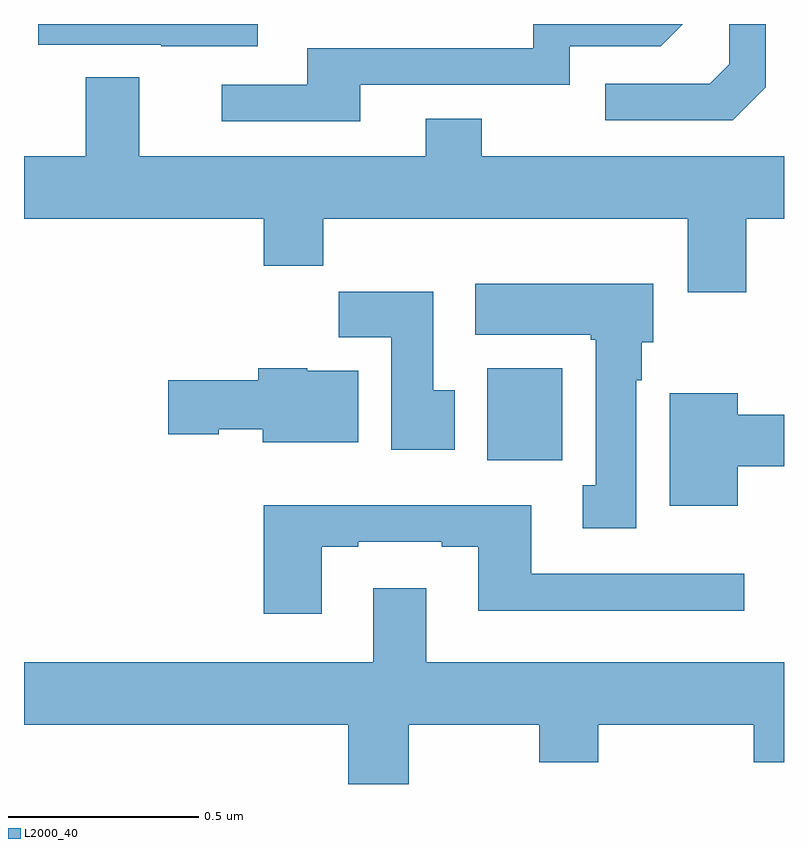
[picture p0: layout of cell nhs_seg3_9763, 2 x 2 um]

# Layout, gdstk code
import gdstk
lib = gdstk.Library(unit=1e-6, precision=1e-09)
def R(c, l, rs):  # rectangles x0, y0, x1, y1
    for r in rs: c.add(gdstk.rectangle(r[:2], r[2:], *l))
def P(c, l, *ps):  # polygons
    for p in ps: c.add(gdstk.Polygon(p, *l))
L2000_40 = (2000, 40)

nhs_seg3_9763 = lib.new_cell('nhs_seg3_9763')
R(nhs_seg3_9763, L2000_40, [(233.219,728.252,233.416,728.494)])
P(nhs_seg3_9763, L2000_40, [(232.615,729.4),(232.037,729.4),(232.037,729.345),(232.361,729.345),(232.361,729.341),(232.615,729.341)],
  [(232.885,729.24),(233.436,729.24),(233.436,729.342),(233.676,729.342),(233.734,729.4),(233.34,729.4),(233.34,729.336),(232.745,729.336),(232.745,729.24),(232.521,729.24),(232.521,729.144),(232.885,729.144)],
  [(233.952,729.234),(233.952,729.4),(233.856,729.4),(233.856,729.294),(233.805,729.243),(233.529,729.243),(233.529,729.147),(233.865,729.147)],
  [(233.9,728.888),(234,728.888),(234,729.052),(233.205,729.052),(233.205,729.151),(233.057,729.151),(233.057,729.052),(232.303,729.052),(232.303,729.26),(232.163,729.26),(232.163,729.052),(232,729.052),(232,728.888),(232.631,728.888),(232.631,728.764),(232.787,728.764),(232.787,728.888),(233.747,728.888),(233.747,728.694),(233.9,728.694)],
  [(233.611,728.462),(233.626,728.462),(233.626,728.562),(233.656,728.562),(233.656,728.716),(233.187,728.716),(233.187,728.582),(233.491,728.582),(233.491,728.569),(233.504,728.569),(233.504,728.186),(233.471,728.186),(233.471,728.073),(233.611,728.073)],
  [(233.134,728.436),(233.077,728.436),(233.077,728.695),(232.828,728.695),(232.828,728.576),(232.967,728.576),(232.967,728.28),(233.134,728.28)],
  [(232.879,728.488),(232.746,728.488),(232.746,728.494),(232.616,728.494),(232.616,728.463),(232.38,728.463),(232.38,728.321),(232.512,728.321),(232.512,728.333),(232.628,728.333),(232.628,728.3),(232.879,728.3)],
  [(233.878,728.236),(234,728.236),(234,728.372),(233.878,728.372),(233.878,728.428),(233.699,728.428),(233.699,728.132),(233.878,728.132)],
  [(232.783,728.025),(232.879,728.025),(232.879,728.037),(233.099,728.037),(233.099,728.025),(233.195,728.025),(233.195,727.856),(233.896,727.856),(233.896,727.953),(233.335,727.953),(233.335,728.134),(232.631,728.134),(232.631,727.848),(232.783,727.848)],
  [(233.013,727.556),(233.356,727.556),(233.356,727.457),(233.511,727.457),(233.511,727.556),(233.92,727.556),(233.92,727.457),(234,727.457),(234,727.72),(233.059,727.72),(233.059,727.915),(232.919,727.915),(232.919,727.72),(232,727.72),(232,727.556),(232.853,727.556),(232.853,727.4),(233.013,727.4)])

lib.write_gds('nhs_seg3_9763.gds')
